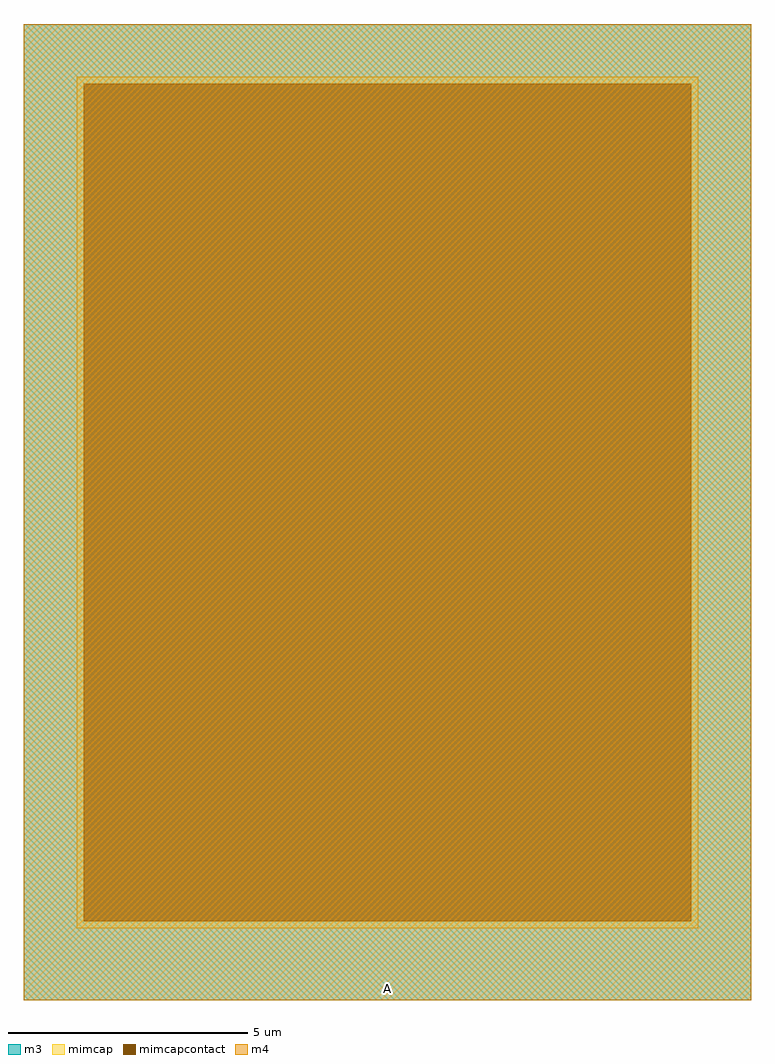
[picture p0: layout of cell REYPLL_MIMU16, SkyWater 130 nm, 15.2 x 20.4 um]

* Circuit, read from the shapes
.subckt REYPLL_MIMU16 A B
XC1 B A sky130_fd_pr__cap_mim_m3_1 w=13 l=17.8
.ends

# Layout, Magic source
magic
tech sky130A
magscale 1 2
<< m3 >>
rect 80 0 3120 100
rect 80 0 3120 100
rect 80 80 3120 4080
<< m4 >>
rect 80 0 3120 100
rect 80 0 3120 100
rect 80 80 3120 4080
<< mimcap >>
rect 300 300 2900 3860
<< mimcapcontact >>
rect 330 330 2870 3830
<< labels >>
flabel m3 s 80 0 3120 100 0 FreeSans 400 0 0 0 A
port 1 nsew signal bidirectional
flabel m4 s 80 0 3120 100 0 FreeSans 400 0 0 0 B
port 2 nsew signal bidirectional
<< properties >>
string FIXED_BBOX 0 0 3200 4160
<< end >>
